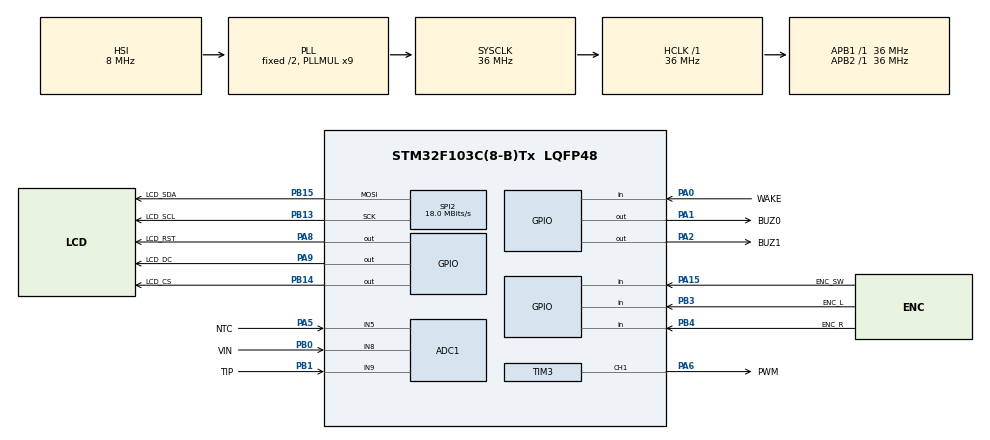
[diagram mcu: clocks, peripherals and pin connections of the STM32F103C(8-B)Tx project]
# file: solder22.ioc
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ADC1.Channel-2\#ChannelRegularConversion=ADC_CHANNEL_5
ADC1.Channel-3\#ChannelRegularConversion=ADC_CHANNEL_8
ADC1.Channel-4\#ChannelRegularConversion=ADC_CHANNEL_9
ADC1.ContinuousConvMode=ENABLE
ADC1.EnableInjectedConversion=DISABLE
ADC1.NbrOfConversion=3
ADC1.NbrOfConversionFlag=1
ADC1.Rank-2\#ChannelRegularConversion=1
ADC1.Rank-3\#ChannelRegularConversion=2
ADC1.Rank-4\#ChannelRegularConversion=3
ADC1.SamplingTime-2\#ChannelRegularConversion=ADC_SAMPLETIME_13CYCLES_5
ADC1.SamplingTime-3\#ChannelRegularConversion=ADC_SAMPLETIME_13CYCLES_5
ADC1.SamplingTime-4\#ChannelRegularConversion=ADC_SAMPLETIME_13CYCLES_5
ADC1.master=1
Dma.ADC1.0.Direction=DMA_PERIPH_TO_MEMORY
Dma.ADC1.0.Instance=DMA1_Channel1
Dma.ADC1.0.MemDataAlignment=DMA_MDATAALIGN_HALFWORD
Dma.ADC1.0.MemInc=DMA_MINC_ENABLE
Dma.ADC1.0.Mode=DMA_NORMAL
Dma.ADC1.0.PeriphDataAlignment=DMA_PDATAALIGN_HALFWORD
Dma.ADC1.0.PeriphInc=DMA_PINC_DISABLE
Dma.ADC1.0.Priority=DMA_PRIORITY_VERY_HIGH
Dma.Request0=ADC1
Mcu.Family=STM32F1
Mcu.Name=STM32F103C(8-B)Tx
Mcu.Package=LQFP48
NVIC.DMA1_Channel1_IRQn=true\:0\:0\:false\:false\:true\:false\:true\:true
NVIC.PriorityGroup=NVIC_PRIORITYGROUP_4
NVIC.RTC_IRQn=true\:0\:0\:false\:false\:true\:true\:true\:true
NVIC.TIM4_IRQn=true\:2\:0\:true\:false\:true\:true\:true\:true
PA0-WKUP.GPIO_Label=WAKE
PA0-WKUP.Signal=GPIO_Input
PA1.GPIO_Label=BUZ0
PA1.Signal=GPIO_Output
PA13.Mode=Serial_Wire
PA13.Signal=SYS_JTMS-SWDIO
PA14.Mode=Serial_Wire
PA14.Signal=SYS_JTCK-SWCLK
PA15.GPIO_Label=ENC_SW
PA15.Signal=GPIO_Input
PA2.GPIO_Label=BUZ1
PA2.Signal=GPIO_Output
PA5.GPIO_Label=NTC
PA5.Signal=ADCx_IN5
PA6.GPIO_Label=PWM
PA6.Signal=S_TIM3_CH1
PA8.GPIO_Label=LCD_RST
PA8.GPIO_Speed=GPIO_SPEED_FREQ_HIGH
PA8.Signal=GPIO_Output
PA9.GPIO_Label=LCD_DC
PA9.GPIO_Speed=GPIO_SPEED_FREQ_HIGH
PA9.Signal=GPIO_Output
PB0.GPIO_Label=VIN
PB0.Signal=ADCx_IN8
PB1.GPIO_Label=TIP
PB1.Signal=ADCx_IN9
PB13.GPIO_Label=LCD_SCL
PB13.Mode=TX_Only_Simplex_Unidirect_Master
PB13.Signal=SPI2_SCK
PB14.GPIO_Label=LCD_CS
PB14.GPIO_Speed=GPIO_SPEED_FREQ_HIGH
PB14.Signal=GPIO_Output
PB15.GPIO_Label=LCD_SDA
PB15.Mode=TX_Only_Simplex_Unidirect_Master
PB15.Signal=SPI2_MOSI
PB3.GPIO_Label=ENC_L
PB3.Signal=GPIO_Input
PB4.GPIO_Label=ENC_R
PB4.Signal=GPIO_Input
PC14-OSC32_IN.Mode=LSE-External-Oscillator
PC14-OSC32_IN.Signal=RCC_OSC32_IN
PC15-OSC32_OUT.Mode=LSE-External-Oscillator
PC15-OSC32_OUT.Signal=RCC_OSC32_OUT
PD0-OSC_IN.Mode=HSE-External-Oscillator
PD0-OSC_IN.Signal=RCC_OSC_IN
PD1-OSC_OUT.Mode=HSE-External-Oscillator
PD1-OSC_OUT.Signal=RCC_OSC_OUT
ProjectManager.HeapSize=0xF00
ProjectManager.StackSize=0x500
ProjectManager.TargetToolchain=Makefile
RCC.ADCPresc=RCC_ADCPCLK2_DIV4
RCC.AHBFreq_Value=36000000
RCC.APB1Freq_Value=36000000
RCC.APB1TimFreq_Value=36000000
RCC.APB2Freq_Value=36000000
RCC.APB2TimFreq_Value=36000000
RCC.HCLKFreq_Value=36000000
RCC.PLLMUL=RCC_PLL_MUL9
RCC.RTCClockSelection=RCC_RTCCLKSOURCE_LSE
RCC.SYSCLKFreq_VALUE=36000000
RCC.SYSCLKSource=RCC_SYSCLKSOURCE_PLLCLK
RCC.USBFreq_Value=36000000
RTC.Format=RTC_FORMAT_BIN
SH.ADCx_IN5.0=ADC1_IN5,IN5
SH.ADCx_IN8.0=ADC1_IN8,IN8
SH.ADCx_IN9.0=ADC1_IN9,IN9
SH.S_TIM3_CH1.0=TIM3_CH1,PWM Generation1 CH1
SPI2.BaudRatePrescaler=SPI_BAUDRATEPRESCALER_2
SPI2.CalculateBaudRate=18.0 MBits/s
SPI2.Direction=SPI_DIRECTION_2LINES
SPI2.Mode=SPI_MODE_MASTER
SPI2.VirtualType=VM_MASTER
TIM3.Channel-PWM\ Generation1\ CH1=TIM_CHANNEL_1
TIM3.OC1Preload_PWM=DISABLE
TIM3.OCFastMode_PWM-PWM\ Generation1\ CH1=TIM_OCFAST_ENABLE
TIM3.Prescaler=359
TIM3.TIM_MasterOutputTrigger=TIM_TRGO_UPDATE
TIM4.AutoReloadPreload=TIM_AUTORELOAD_PRELOAD_ENABLE
TIM4.Prescaler=359
TIM4.TIM_MasterOutputTrigger=TIM_TRGO_UPDATE
VP_CRC_VS_CRC.Mode=CRC_Activate
VP_RTC_No_RTC_Output.Mode=RTC_OUT_NO
VP_RTC_VS_RTC_Activate.Mode=RTC_Enabled
VP_TIM3_VS_ClockSourceINT.Mode=Internal
VP_TIM4_VS_ClockSourceINT.Mode=Internal
board=custom

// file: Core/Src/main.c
/* USER CODE BEGIN Header */
/**
 ******************************************************************************
 * @file           : main.c
 * @brief          : Main program body
 ******************************************************************************
 * @attention
 *
 * Copyright (c) 2022 STMicroelectronics.
 * All rights reserved.
 *
 * This software is licensed under terms that can be found in the LICENSE file
 * in the root directory of this software component.
 * If no LICENSE file comes with this software, it is provided AS-IS.
 *
 ******************************************************************************
 */
/* USER CODE END Header */
#include "main.h"

/* USER CODE BEGIN Includes */
#include "iron.h"
#include "pid.h"
#include "settings.h"
#include "adc_global.h"
#include "buzzer.h"
#include "rotary_encoder.h"
#include "stm32f1xx_hal_rtc_ex.h"
#include "tempsensors.h"
#include "voltagesensors.h"
#include "st7735.h"
#include "gui.h"
#include "screen.h"
#include "m_rtc.h"
#include "myTest.h"
/* USER CODE END Includes */

ADC_HandleTypeDef hadc1;
DMA_HandleTypeDef hdma_adc1;

CRC_HandleTypeDef hcrc;

RTC_HandleTypeDef hrtc;

SPI_HandleTypeDef hspi2;

TIM_HandleTypeDef htim3;
TIM_HandleTypeDef htim4;

/* USER CODE BEGIN PV */
#if defined DEBUG_PWM && defined SWO_PRINT
volatile uint16_t dbg_prev_TIP_Raw, dbg_prev_TIP, dbg_prev_VIN, dbg_prev_PWR;
volatile int16_t dbg_prev_NTC;
volatile bool dbg_newData;
#endif
ucg_t ucg;
RTC_TimeTypeDef sTime = {0};
RTC_DateTypeDef sDate = {0};
char showTime[10] = {0,};
char showDate[12] = {0,};
/* USER CODE END PV */

void SystemClock_Config(void);
static void MX_GPIO_Init(void);
static void MX_RTC_Init(void);
static void MX_SPI2_Init(void);
static void MX_DMA_Init(void);
static void MX_ADC1_Init(void);
static void MX_TIM4_Init(void);
static void MX_TIM3_Init(void);
static void MX_CRC_Init(void);

/* USER CODE BEGIN 0 */
#if defined DEBUG_PWM && defined SWO_PRINT
int _write(int32_t file, uint8_t *ptr, int32_t len)
{
	for (int i = 0; i < len; i++)
	{
		ITM_SendChar(*ptr++);
	}
	return len;
}
#endif

#ifdef DEBUG_ALLOC
struct mallinfo mi;
uint32_t max_allocated;
#endif
// Allocate max possible ram, then release it. This fill the malloc pool and avoids internal fragmentation due (ST's?) poor malloc implementation.
void malloc_fragmentation_fix(void){
	uint32_t *ptr = NULL;
	uint32_t try=17408;
	while(!ptr && try){
		ptr = _malloc(try);
		try-=16;
	}
	_free(ptr);
#ifdef DEBUG_ALLOC
	max_allocated=0; //Clear max allocated result
#endif
}

void Init(void){
	ucg.x_dim = ST7735_WIDTH;
	ucg.y_dim = ST7735_HEIGHT;
	ucg_Init();
	ucg_SetFont(&ucg, &font_18m);
	guiInit();
	ADC_Init(&ADC_DEVICE);
	buzzer_init();
	restoreSettings();
	ironInit(&READ_TIMER, &PWM_TIMER,PWM_CHANNEL);
	oled_init(&RE_Get,&RE1_Data);
	RE_Init((RE_State_t *)&RE1_Data, ENC_L_GPIO_Port, ENC_L_Pin, ENC_R_GPIO_Port, ENC_R_Pin, ENC_SW_GPIO_Port, ENC_SW_Pin);
}
void setDataTime(void) {
	sTime.Hours = 23;
	sTime.Minutes = 00;
	sTime.Seconds = 00;
	if(mRTC_SetTime(&hrtc, &sTime, RTC_FORMAT_BIN) != HAL_OK)
	{
		Error_Handler();
	}
	sDate.Date = 26;
	sDate.Month = 3;
	sDate.Year = 22;
	if(mRTC_SetDate(&hrtc, &sDate, RTC_FORMAT_BIN) != HAL_OK)
	{
		Error_Handler();
	}
}

void Show_RTC_Calendar(void) {
	mRTC_GetTime(&hrtc, &sTime, RTC_FORMAT_BIN);
	snprintf(showTime, 9, "%02d:%02d:%02d", sTime.Hours, sTime.Minutes, sTime.Seconds);
	mRTC_GetDate(&hrtc, &sDate, RTC_FORMAT_BIN);
	snprintf(showDate, 9, "%02d.%02d.%02d", sDate.Date, sDate.Month, sDate.Year);
}

/* USER CODE END 0 */

int main(void)
{
	/* USER CODE BEGIN 1 */

	malloc_fragmentation_fix();

#if defined DEBUG && !defined STM32F072xB
	DebugOpts();          // Enable debug options in Debug build
	DWT->CTRL |= 1 ; // enable the counter
	DWT->CYCCNT = 0; // reset the counter
	// Now CPU cycles can be read in DWT->CYCCNT;
#endif
	/* USER CODE END 1 */

	/* MCU Configuration--------------------------------------------------------*/

	/* Reset of all peripherals, Initializes the Flash interface and the Systick. */
	HAL_Init();

	/* Configure the system clock */
	SystemClock_Config();

	/* Initialize all configured peripherals */
	MX_GPIO_Init();
	MX_RTC_Init();
	MX_SPI2_Init();
	MX_DMA_Init();
	MX_ADC1_Init();
	MX_TIM4_Init();
	MX_TIM3_Init();
	MX_CRC_Init();
	/* USER CODE BEGIN 2 */
	HAL_RTCEx_SetSecond_IT(&hrtc);
	/* USER CODE END 2 */

	/* Infinite loop */
	/* USER CODE BEGIN WHILE */
	configurePWMpin(output_Low);

	for(uint32_t t=HAL_GetTick();(HAL_GetTick()-t)<500; ){  // Wait 500ms for voltage to stabilize? (Before calibrating ADC)
		/* HAL_IWDG_Refresh(&hiwdg); */
	}
	/* setDataTime(); */
	mRTC_Begin(&hrtc);
	Init();

#ifndef  FLASH128
	ucg_SetForeColor(&ucg, C_COLOR565(0x3E, 0xB2, 0xFF));
	ucg_FillRectangle(&ucg, 0, 0, ucg_GetXDim(&ucg), ucg_GetYDim(&ucg) / 2);
	ucg_SetForeColor(&ucg, C_YELLOW);
	ucg_FillRectangle(&ucg, 0, ucg_GetYDim(&ucg) / 2, ucg_GetXDim(&ucg), ucg_GetYDim(&ucg) / 2);
#endif

#ifdef RUN_MY_TEST
	myTest();
#endif
	while (1)
	{
		/* USER CODE END WHILE */

		/* USER CODE BEGIN 3 */
#if defined DEBUG_PWM && defined SWO_PRINT
		if(dbg_newData){
			dbg_newData=0;

			printf("     LAST  VAL    RAW   VAL      PREV  VAL    RAW   VAL\n"
					"TIP: %4u  %3u\260C  %4u  %3u\260C    %4u  %3u\260C  %4u  %3u\260C \n"
					"PID: %3u%%                        %3u%%\n\n",
					TIP.last_avg, last_TIP, TIP.last_raw, last_TIP_Raw, TIP.prev_avg, dbg_prev_TIP, TIP.prev_raw, dbg_prev_TIP_Raw,
					Iron.CurrentIronPower, dbg_prev_PWR);

		}
#endif
		checkSettings();                                                                          // Check if settings were modified
		oled_handle();                                                                            // Handle oled drawing
	}
	/* USER CODE END 3 */
}

void SystemClock_Config(void)
{
	RCC_OscInitTypeDef RCC_OscInitStruct = {0};
	RCC_ClkInitTypeDef RCC_ClkInitStruct = {0};
	RCC_PeriphCLKInitTypeDef PeriphClkInit = {0};

	/** Initializes the RCC Oscillators according to the specified parameters
	 * in the RCC_OscInitTypeDef structure.
	 */
	RCC_OscInitStruct.OscillatorType = RCC_OSCILLATORTYPE_HSI|RCC_OSCILLATORTYPE_LSE;
	RCC_OscInitStruct.LSEState = RCC_LSE_ON;
	RCC_OscInitStruct.HSIState = RCC_HSI_ON;
	RCC_OscInitStruct.HSICalibrationValue = RCC_HSICALIBRATION_DEFAULT;
	RCC_OscInitStruct.PLL.PLLState = RCC_PLL_ON;
	RCC_OscInitStruct.PLL.PLLSource = RCC_PLLSOURCE_HSI_DIV2;
	RCC_OscInitStruct.PLL.PLLMUL = RCC_PLL_MUL9;
	if (HAL_RCC_OscConfig(&RCC_OscInitStruct) != HAL_OK)
	{
		Error_Handler();
	}
	/** Initializes the CPU, AHB and APB buses clocks
	*/
	RCC_ClkInitStruct.ClockType = RCC_CLOCKTYPE_HCLK|RCC_CLOCKTYPE_SYSCLK
		|RCC_CLOCKTYPE_PCLK1|RCC_CLOCKTYPE_PCLK2;
	RCC_ClkInitStruct.SYSCLKSource = RCC_SYSCLKSOURCE_PLLCLK;
	RCC_ClkInitStruct.AHBCLKDivider = RCC_SYSCLK_DIV1;
	RCC_ClkInitStruct.APB1CLKDivider = RCC_HCLK_DIV1;
	RCC_ClkInitStruct.APB2CLKDivider = RCC_HCLK_DIV1;

	if (HAL_RCC_ClockConfig(&RCC_ClkInitStruct, FLASH_LATENCY_1) != HAL_OK)
	{
		Error_Handler();
	}
	PeriphClkInit.PeriphClockSelection = RCC_PERIPHCLK_RTC|RCC_PERIPHCLK_ADC;
	PeriphClkInit.RTCClockSelection = RCC_RTCCLKSOURCE_LSE;
	PeriphClkInit.AdcClockSelection = RCC_ADCPCLK2_DIV4;
	if (HAL_RCCEx_PeriphCLKConfig(&PeriphClkInit) != HAL_OK)
	{
		Error_Handler();
	}
}

static void MX_ADC1_Init(void)
{

	ADC_ChannelConfTypeDef sConfig = {0};

	/** Common config
	*/
	hadc1.Instance = ADC1;
	hadc1.Init.ScanConvMode = ADC_SCAN_ENABLE;
	hadc1.Init.ContinuousConvMode = ENABLE;
	hadc1.Init.DiscontinuousConvMode = DISABLE;
	hadc1.Init.ExternalTrigConv = ADC_SOFTWARE_START;
	hadc1.Init.DataAlign = ADC_DATAALIGN_RIGHT;
	hadc1.Init.NbrOfConversion = 3;
	if (HAL_ADC_Init(&hadc1) != HAL_OK)
	{
		Error_Handler();
	}
	/** Configure Regular Channel
	*/
	sConfig.Channel = ADC_CHANNEL_5;
	sConfig.Rank = ADC_REGULAR_RANK_1;
	sConfig.SamplingTime = ADC_SAMPLETIME_13CYCLES_5;
	if (HAL_ADC_ConfigChannel(&hadc1, &sConfig) != HAL_OK)
	{
		Error_Handler();
	}
	/** Configure Regular Channel
	*/
	sConfig.Channel = ADC_CHANNEL_8;
	sConfig.Rank = ADC_REGULAR_RANK_2;
	if (HAL_ADC_ConfigChannel(&hadc1, &sConfig) != HAL_OK)
	{
		Error_Handler();
	}
	/** Configure Regular Channel
	*/
	sConfig.Channel = ADC_CHANNEL_9;
	sConfig.Rank = ADC_REGULAR_RANK_3;
	if (HAL_ADC_ConfigChannel(&hadc1, &sConfig) != HAL_OK)
	{
		Error_Handler();
	}

}

static void MX_CRC_Init(void)
{

	hcrc.Instance = CRC;
	if (HAL_CRC_Init(&hcrc) != HAL_OK)
	{
		Error_Handler();
	}

}

static void MX_RTC_Init(void)
{

	RTC_TimeTypeDef sTime = {0};
	RTC_DateTypeDef DateToUpdate = {0};

	/** Initialize RTC Only
	*/
	hrtc.Instance = RTC;
	hrtc.Init.AsynchPrediv = RTC_AUTO_1_SECOND;
	hrtc.Init.OutPut = RTC_OUTPUTSOURCE_NONE;
	if (HAL_RTC_Init(&hrtc) != HAL_OK)
	{
		Error_Handler();
	}

	/* USER CODE BEGIN Check_RTC_BKUP */
	return;
	/* USER CODE END Check_RTC_BKUP */

	/** Initialize RTC and set the Time and Date
	*/
	sTime.Hours = 0;
	sTime.Minutes = 0;
	sTime.Seconds = 0;

	if (HAL_RTC_SetTime(&hrtc, &sTime, RTC_FORMAT_BIN) != HAL_OK)
	{
		Error_Handler();
	}
	DateToUpdate.WeekDay = RTC_WEEKDAY_MONDAY;
	DateToUpdate.Month = RTC_MONTH_JANUARY;
	DateToUpdate.Date = 1;
	DateToUpdate.Year = 0;

	if (HAL_RTC_SetDate(&hrtc, &DateToUpdate, RTC_FORMAT_BIN) != HAL_OK)
	{
		Error_Handler();
	}

}

static void MX_SPI2_Init(void)
{

	/* SPI2 parameter configuration*/
	hspi2.Instance = SPI2;
	hspi2.Init.Mode = SPI_MODE_MASTER;
	hspi2.Init.Direction = SPI_DIRECTION_2LINES;
	hspi2.Init.DataSize = SPI_DATASIZE_8BIT;
	hspi2.Init.CLKPolarity = SPI_POLARITY_LOW;
	hspi2.Init.CLKPhase = SPI_PHASE_1EDGE;
	hspi2.Init.NSS = SPI_NSS_SOFT;
	hspi2.Init.BaudRatePrescaler = SPI_BAUDRATEPRESCALER_2;
	hspi2.Init.FirstBit = SPI_FIRSTBIT_MSB;
	hspi2.Init.TIMode = SPI_TIMODE_DISABLE;
	hspi2.Init.CRCCalculation = SPI_CRCCALCULATION_DISABLE;
	hspi2.Init.CRCPolynomial = 10;
	if (HAL_SPI_Init(&hspi2) != HAL_OK)
	{
		Error_Handler();
	}

}

static void MX_TIM3_Init(void)
{

	TIM_ClockConfigTypeDef sClockSourceConfig = {0};
	TIM_MasterConfigTypeDef sMasterConfig = {0};
	TIM_OC_InitTypeDef sConfigOC = {0};

	htim3.Instance = TIM3;
	htim3.Init.Prescaler = 359;
	htim3.Init.CounterMode = TIM_COUNTERMODE_UP;
	htim3.Init.Period = 65535;
	htim3.Init.ClockDivision = TIM_CLOCKDIVISION_DIV1;
	htim3.Init.AutoReloadPreload = TIM_AUTORELOAD_PRELOAD_DISABLE;
	if (HAL_TIM_Base_Init(&htim3) != HAL_OK)
	{
		Error_Handler();
	}
	sClockSourceConfig.ClockSource = TIM_CLOCKSOURCE_INTERNAL;
	if (HAL_TIM_ConfigClockSource(&htim3, &sClockSourceConfig) != HAL_OK)
	{
		Error_Handler();
	}
	if (HAL_TIM_PWM_Init(&htim3) != HAL_OK)
	{
		Error_Handler();
	}
	sMasterConfig.MasterOutputTrigger = TIM_TRGO_UPDATE;
	sMasterConfig.MasterSlaveMode = TIM_MASTERSLAVEMODE_DISABLE;
	if (HAL_TIMEx_MasterConfigSynchronization(&htim3, &sMasterConfig) != HAL_OK)
	{
		Error_Handler();
	}
	sConfigOC.OCMode = TIM_OCMODE_PWM1;
	sConfigOC.Pulse = 0;
	sConfigOC.OCPolarity = TIM_OCPOLARITY_HIGH;
	sConfigOC.OCFastMode = TIM_OCFAST_ENABLE;
	if (HAL_TIM_PWM_ConfigChannel(&htim3, &sConfigOC, TIM_CHANNEL_1) != HAL_OK)
	{
		Error_Handler();
	}
	__HAL_TIM_DISABLE_OCxPRELOAD(&htim3, TIM_CHANNEL_1);
	HAL_TIM_MspPostInit(&htim3);

}

static void MX_TIM4_Init(void)
{

	TIM_ClockConfigTypeDef sClockSourceConfig = {0};
	TIM_MasterConfigTypeDef sMasterConfig = {0};

	htim4.Instance = TIM4;
	htim4.Init.Prescaler = 359;
	htim4.Init.CounterMode = TIM_COUNTERMODE_UP;
	htim4.Init.Period = 65535;
	htim4.Init.ClockDivision = TIM_CLOCKDIVISION_DIV1;
	htim4.Init.AutoReloadPreload = TIM_AUTORELOAD_PRELOAD_ENABLE;
	if (HAL_TIM_Base_Init(&htim4) != HAL_OK)
	{
		Error_Handler();
	}
	sClockSourceConfig.ClockSource = TIM_CLOCKSOURCE_INTERNAL;
	if (HAL_TIM_ConfigClockSource(&htim4, &sClockSourceConfig) != HAL_OK)
	{
		Error_Handler();
	}
	sMasterConfig.MasterOutputTrigger = TIM_TRGO_UPDATE;
	sMasterConfig.MasterSlaveMode = TIM_MASTERSLAVEMODE_DISABLE;
	if (HAL_TIMEx_MasterConfigSynchronization(&htim4, &sMasterConfig) != HAL_OK)
	{
		Error_Handler();
	}

}

static void MX_DMA_Init(void)
{

	/* DMA controller clock enable */
	__HAL_RCC_DMA1_CLK_ENABLE();

	/* DMA interrupt init */
	/* DMA1_Channel1_IRQn interrupt configuration */
	HAL_NVIC_SetPriority(DMA1_Channel1_IRQn, 0, 0);
	HAL_NVIC_EnableIRQ(DMA1_Channel1_IRQn);

}

static void MX_GPIO_Init(void)
{
	GPIO_InitTypeDef GPIO_InitStruct = {0};

	/* GPIO Ports Clock Enable */
	__HAL_RCC_GPIOC_CLK_ENABLE();
	__HAL_RCC_GPIOD_CLK_ENABLE();
	__HAL_RCC_GPIOA_CLK_ENABLE();
	__HAL_RCC_GPIOB_CLK_ENABLE();

	/*Configure GPIO pin Output Level */
	HAL_GPIO_WritePin(GPIOA, BUZ0_Pin|BUZ1_Pin|LCD_RST_Pin|LCD_DC_Pin, GPIO_PIN_RESET);

	/*Configure GPIO pin Output Level */
	HAL_GPIO_WritePin(LCD_CS_GPIO_Port, LCD_CS_Pin, GPIO_PIN_RESET);

	/*Configure GPIO pins : WAKE_Pin ENC_SW_Pin */
	GPIO_InitStruct.Pin = WAKE_Pin|ENC_SW_Pin;
	GPIO_InitStruct.Mode = GPIO_MODE_INPUT;
	GPIO_InitStruct.Pull = GPIO_NOPULL;
	HAL_GPIO_Init(GPIOA, &GPIO_InitStruct);

	/*Configure GPIO pins : BUZ0_Pin BUZ1_Pin */
	GPIO_InitStruct.Pin = BUZ0_Pin|BUZ1_Pin;
	GPIO_InitStruct.Mode = GPIO_MODE_OUTPUT_PP;
	GPIO_InitStruct.Pull = GPIO_NOPULL;
	GPIO_InitStruct.Speed = GPIO_SPEED_FREQ_LOW;
	HAL_GPIO_Init(GPIOA, &GPIO_InitStruct);

	/*Configure GPIO pin : LCD_CS_Pin */
	GPIO_InitStruct.Pin = LCD_CS_Pin;
	GPIO_InitStruct.Mode = GPIO_MODE_OUTPUT_PP;
	GPIO_InitStruct.Pull = GPIO_NOPULL;
	GPIO_InitStruct.Speed = GPIO_SPEED_FREQ_HIGH;
	HAL_GPIO_Init(LCD_CS_GPIO_Port, &GPIO_InitStruct);

	/*Configure GPIO pins : LCD_RST_Pin LCD_DC_Pin */
	GPIO_InitStruct.Pin = LCD_RST_Pin|LCD_DC_Pin;
	GPIO_InitStruct.Mode = GPIO_MODE_OUTPUT_PP;
	GPIO_InitStruct.Pull = GPIO_NOPULL;
	GPIO_InitStruct.Speed = GPIO_SPEED_FREQ_HIGH;
	HAL_GPIO_Init(GPIOA, &GPIO_InitStruct);

	/*Configure GPIO pins : ENC_L_Pin ENC_R_Pin */
	GPIO_InitStruct.Pin = ENC_L_Pin|ENC_R_Pin;
	GPIO_InitStruct.Mode = GPIO_MODE_INPUT;
	GPIO_InitStruct.Pull = GPIO_NOPULL;
	HAL_GPIO_Init(GPIOB, &GPIO_InitStruct);

}

/* USER CODE BEGIN 4 */
// Called from SysTick IRQ every 1mS
void Program_Handler(void) {
	handle_buzzer();                                                    // Handle buzzer state
	RE_Process(&RE1_Data);                                              // Handle Encoder
	if(systemSettings.settings.WakeInputMode!=mode_stand){
		readWake();
	}
}

void HAL_RTCEx_RTCEventCallback(RTC_HandleTypeDef *hrtc) {
	Show_RTC_Calendar();
}

/*
 *
 *  Timer working in load preload mode! The value loaded now is loaded on next event. That's why the values are reversed!
 */
void HAL_TIM_PeriodElapsedCallback(TIM_HandleTypeDef *_htim){
	if(_htim == Iron.Read_Timer){
		__HAL_TIM_CLEAR_FLAG(Iron.Read_Timer,TIM_FLAG_UPDATE);

		if(ADC_Status==ADC_Idle){
			__HAL_TIM_SET_AUTORELOAD(Iron.Read_Timer,systemSettings.Profile.readPeriod-(systemSettings.Profile.readDelay+1)); // load (period-delay) time

			if(systemSettings.settings.activeDetection && !Iron.Error.safeMode){
				configurePWMpin(output_High);                                                   // Force PWM high for a few uS (typically 5-10uS)
				while(__HAL_TIM_GET_COUNTER(Iron.Read_Timer)<(PWM_DETECT_TIME/5));
			}
			configurePWMpin(output_Low);                                                      // Force PWM low
			ADC_Status = ADC_Waiting;
		}
		else if(ADC_Status==ADC_Waiting){
			__HAL_TIM_SET_AUTORELOAD(Iron.Read_Timer,systemSettings.Profile.readDelay);       // Load Delay time
			ADC_Start_DMA();
		}
	}
}
/* USER CODE END 4 */

void Error_Handler(void)
{
	__disable_irq();
	while (1)
	{
	}
}

#ifdef  USE_FULL_ASSERT
/**
 * @brief  Reports the name of the source file and the source line number
 *         where the assert_param error has occurred.
 * @param  file: pointer to the source file name
 * @param  line: assert_param error line source number
 * @retval None
 */
void assert_failed(uint8_t *file, uint32_t line)
{
	/* USER CODE BEGIN 6 */
	/* User can add his own implementation to report the file name and line number,
	   printf("Wrong parameters value: file %s on line %d\r\n", file, line) */
	/* USER CODE END 6 */
}
#endif /* USE_FULL_ASSERT */
